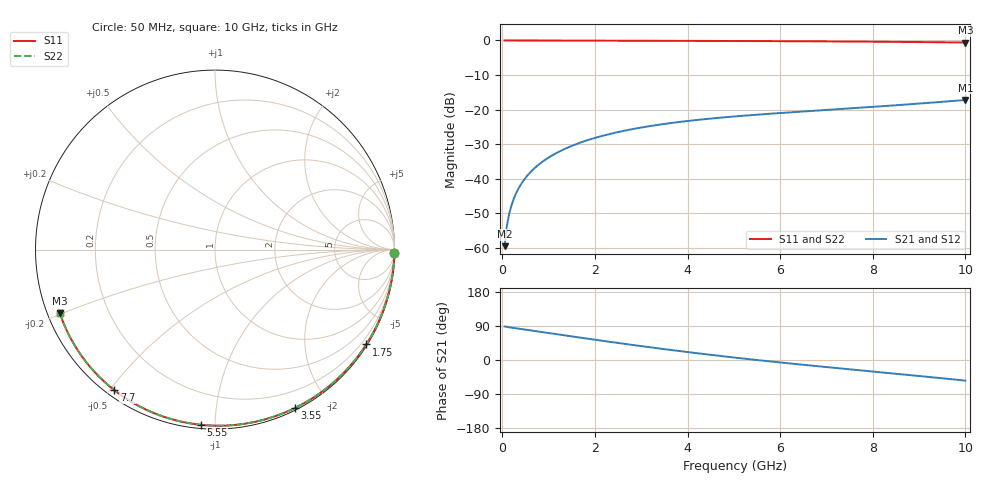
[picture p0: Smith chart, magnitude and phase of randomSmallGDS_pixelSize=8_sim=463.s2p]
! freq	dB(S11)	phase(S11)	dB(S12)	phase(S12)
!  dB(S21)	phase(S21)	dB(S22)	phase(S22)
!S-par simulation data
#  GHz  S  DB  R 50
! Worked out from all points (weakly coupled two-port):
!   200 points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, 50 MHz to 10 GHz, reference 50 ohm
!   highest |S21| = -17.23 dB at 10 GHz (marker M1); lowest = -59.5 dB at 50 MHz (marker M2)
!   lowest |S11| = -0.6 dB at 10 GHz (marker M3), VSWR 29.22, Z = 1.78 - j9.81 ohm
!   |S11| at or under -10 dB: nowhere
!   |S22| runs from -0.6 to 0.0 dB; largest |S21 - S12| = 0
!   S11 on the Smith chart (normalised r, x): 50 MHz: open; 1.75 GHz: 0.03, -3.48; 3.55 GHz: 0.02, -1.63; 5.55 GHz: 0.02, -0.92; 7.7 GHz: 0.02, -0.51; 10 GHz: 0.04, -0.20
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0.05  -0.00 -0.9  -59.51 88.6  -59.51 88.6  -0.00 -0.9
0.1  -0.00 -1.9  -53.54 87.3  -53.54 87.3  -0.00 -1.9
0.15  -0.00 -2.8  -50.07 86.3  -50.07 86.3  -0.00 -2.8
0.2  -0.00 -3.7  -47.62 85.4  -47.62 85.4  -0.00 -3.7
0.25  -0.00 -4.7  -45.71 84.5  -45.71 84.5  -0.00 -4.7
0.35  -0.01 -6.5  -42.83 82.8  -42.83 82.8  -0.01 -6.5
0.5  -0.01 -9.3  -39.78 80.2  -39.78 80.2  -0.01 -9.3
0.7  -0.02 -13.0  -36.90 76.6  -36.90 76.6  -0.02 -13.0
1  -0.02 -18.5  -33.87 71.2  -33.87 71.2  -0.02 -18.5
1.35  -0.03 -24.9  -31.36 65.0  -31.36 65.0  -0.03 -24.9
1.75  -0.05 -32.1  -29.25 57.9  -29.25 57.9  -0.05 -32.1
2.5  -0.07 -45.3  -26.50 44.9  -26.50 44.9  -0.07 -45.3
3.4  -0.09 -60.6  -24.34 30.2  -24.34 30.2  -0.09 -60.7
3.55  -0.10 -63.1  -24.06 27.9  -24.06 27.9  -0.10 -63.1
4.3  -0.13 -75.3  -22.87 16.5  -22.87 16.5  -0.13 -75.3
5.05  -0.16 -87.0  -21.94 5.9  -21.94 5.9  -0.16 -87.1
5.55  -0.18 -94.6  -21.43 -0.7  -21.43 -0.7  -0.18 -94.7
6.7  -0.25 -111.5  -20.37 -15.1  -20.37 -15.1  -0.25 -111.5
7.7  -0.33 -125.6  -19.49 -26.9  -19.49 -26.9  -0.33 -125.7
8.35  -0.39 -134.7  -18.89 -34.4  -18.89 -34.4  -0.39 -134.7
9.2  -0.48 -146.5  -18.06 -44.5  -18.06 -44.5  -0.48 -146.6
10  -0.59 -157.8  -17.23 -54.5  -17.23 -54.5  -0.60 -157.8
